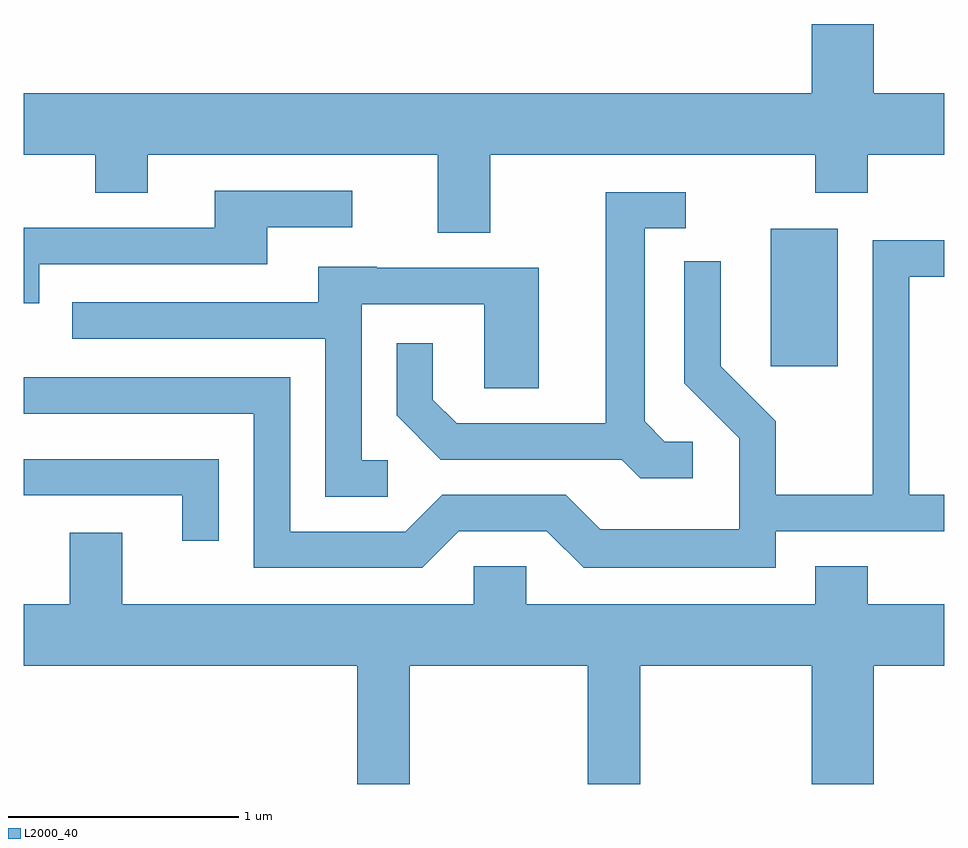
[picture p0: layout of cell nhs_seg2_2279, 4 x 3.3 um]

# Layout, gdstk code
import gdstk
lib = gdstk.Library(unit=1e-6, precision=1e-09)
def R(c, l, rs):  # rectangles x0, y0, x1, y1
    for r in rs: c.add(gdstk.rectangle(r[:2], r[2:], *l))
def P(c, l, *ps):  # polygons
    for p in ps: c.add(gdstk.Polygon(p, *l))
L2000_40 = (2000, 40)

nhs_seg2_2279 = lib.new_cell('nhs_seg2_2279')
R(nhs_seg2_2279, L2000_40, [(254.856,1049.616,255.149,1050.214)])
P(nhs_seg2_2279, L2000_40, [(253.639,1050.536),(255.051,1050.536),(255.051,1050.371),(255.279,1050.371),(255.279,1050.536),(255.611,1050.536),(255.611,1050.804),(255.304,1050.804),(255.304,1051.104),(255.036,1051.104),(255.036,1050.804),(251.611,1050.804),(251.611,1050.536),(251.921,1050.536),(251.921,1050.371),(252.149,1050.371),(252.149,1050.536),(253.411,1050.536),(253.411,1050.196),(253.639,1050.196)],
  [(251.679,1050.061),(252.669,1050.061),(252.669,1050.221),(253.038,1050.221),(253.038,1050.379),(252.441,1050.379),(252.441,1050.219),(251.611,1050.219),(251.611,1049.891),(251.679,1049.891)],
  [(254.518,1049.289),(254.397,1049.289),(254.309,1049.377),(254.309,1050.216),(254.488,1050.216),(254.488,1050.374),(254.141,1050.374),(254.141,1049.369),(253.492,1049.369),(253.389,1049.472),(253.389,1049.718),(253.231,1049.718),(253.231,1049.404),(253.424,1049.211),(254.209,1049.211),(254.289,1049.131),(254.518,1049.131)],
  [(253.502,1048.901),(253.884,1048.901),(254.044,1048.741),(254.879,1048.741),(254.879,1048.901),(255.611,1048.901),(255.611,1049.059),(255.459,1049.059),(255.459,1050.006),(255.611,1050.006),(255.611,1050.164),(255.301,1050.164),(255.301,1049.059),(254.879,1049.059),(254.879,1049.377),(254.639,1049.617),(254.639,1050.073),(254.481,1050.073),(254.481,1049.544),(254.721,1049.304),(254.721,1048.909),(254.117,1048.909),(253.967,1049.059),(253.429,1049.059),(253.269,1048.899),(252.769,1048.899),(252.769,1049.569),(251.611,1049.569),(251.611,1049.411),(252.611,1049.411),(252.611,1048.741),(253.342,1048.741)],
  [(253.193,1049.209),(253.079,1049.209),(253.079,1049.886),(253.611,1049.886),(253.611,1049.521),(253.849,1049.521),(253.849,1050.044),(253.145,1050.044),(253.145,1050.049),(252.891,1050.049),(252.891,1049.894),(251.823,1049.894),(251.823,1049.736),(252.921,1049.736),(252.921,1049.051),(253.193,1049.051)],
  [(252.459,1049.214),(251.611,1049.214),(251.611,1049.056),(252.301,1049.056),(252.301,1048.858),(252.459,1048.858)],
  [(253.289,1048.316),(254.061,1048.316),(254.061,1047.802),(254.289,1047.802),(254.289,1048.316),(255.036,1048.316),(255.036,1047.802),(255.304,1047.802),(255.304,1048.316),(255.611,1048.316),(255.611,1048.584),(255.279,1048.584),(255.279,1048.749),(255.051,1048.749),(255.051,1048.584),(253.794,1048.584),(253.794,1048.749),(253.566,1048.749),(253.566,1048.584),(252.039,1048.584),(252.039,1048.894),(251.811,1048.894),(251.811,1048.584),(251.611,1048.584),(251.611,1048.316),(253.061,1048.316),(253.061,1047.802),(253.289,1047.802)])

lib.write_gds('nhs_seg2_2279.gds')
